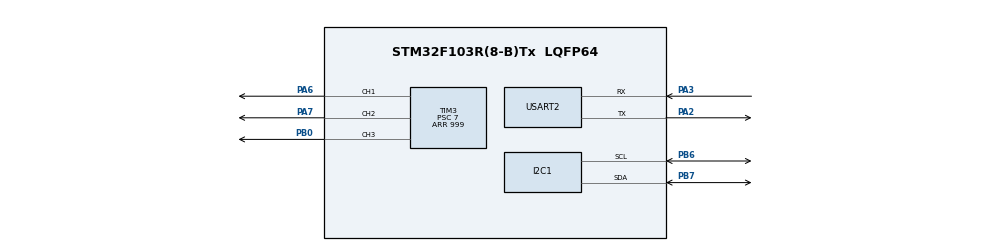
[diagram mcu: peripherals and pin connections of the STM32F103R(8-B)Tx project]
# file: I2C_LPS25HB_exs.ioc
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Mcu.Family=STM32F1
Mcu.Name=STM32F103R(8-B)Tx
Mcu.Package=LQFP64
NVIC.PriorityGroup=NVIC_PRIORITYGROUP_4
NVIC.TIM3_IRQn=true\:6\:0\:true\:false\:true\:true\:true\:true
PA13.Mode=Serial_Wire
PA13.Signal=SYS_JTMS-SWDIO
PA14.Mode=Serial_Wire
PA14.Signal=SYS_JTCK-SWCLK
PA2.Mode=Asynchronous
PA2.Signal=USART2_TX
PA3.Mode=Asynchronous
PA3.Signal=USART2_RX
PA6.Signal=S_TIM3_CH1
PA7.Signal=S_TIM3_CH2
PB0.Signal=S_TIM3_CH3
PB6.Mode=I2C
PB6.Signal=I2C1_SCL
PB7.Mode=I2C
PB7.Signal=I2C1_SDA
ProjectManager.HeapSize=0x200
ProjectManager.StackSize=0x400
ProjectManager.TargetToolchain=STM32CubeIDE
RCC.APB1Freq_Value=8000000
RCC.APB2Freq_Value=8000000
SH.S_TIM3_CH1.0=TIM3_CH1,PWM Generation1 CH1
SH.S_TIM3_CH2.0=TIM3_CH2,PWM Generation2 CH2
SH.S_TIM3_CH3.0=TIM3_CH3,PWM Generation3 CH3
TIM3.Channel-PWM\ Generation1\ CH1=TIM_CHANNEL_1
TIM3.Channel-PWM\ Generation2\ CH2=TIM_CHANNEL_2
TIM3.Channel-PWM\ Generation3\ CH3=TIM_CHANNEL_3
TIM3.OCPolarity_1=TIM_OCPOLARITY_LOW
TIM3.OCPolarity_2=TIM_OCPOLARITY_LOW
TIM3.OCPolarity_3=TIM_OCPOLARITY_LOW
TIM3.Period=999
TIM3.Prescaler=7
TIM3.Pulse-PWM\ Generation1\ CH1=5
TIM3.Pulse-PWM\ Generation2\ CH2=40
TIM3.Pulse-PWM\ Generation3\ CH3=200
USART2.VirtualMode=VM_ASYNC
VP_RTC_VS_RTC_Activate.Mode=RTC_Enabled
VP_TIM3_VS_ClockSourceINT.Mode=Internal
board=custom

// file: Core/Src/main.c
/* USER CODE BEGIN Header */
/**
  ******************************************************************************
  * @file           : main.c
  * @brief          : Main program body
  ******************************************************************************
  * @attention
  *
  * Copyright (c) 2024 STMicroelectronics.
  * All rights reserved.
  *
  * This software is licensed under terms that can be found in the LICENSE file
  * in the root directory of this software component.
  * If no LICENSE file comes with this software, it is provided AS-IS.
  *
  ******************************************************************************
  */
/* USER CODE END Header */
#include "main.h"
#include "i2c.h"
#include "rtc.h"
#include "tim.h"
#include "usart.h"
#include "gpio.h"

/* USER CODE BEGIN Includes */
#include <stdio.h>
#include <math.h>
#include "lps25hb.h"
/* USER CODE END Includes */

/* USER CODE BEGIN PD */
#define PRESSURE_SCALE -29.271769
#define SECOND 1000
/* USER CODE END PD */

void SystemClock_Config(void);

/* USER CODE BEGIN 0 */
int __io_putchar(int ch)
{
	if (ch == '\n')
		__io_putchar('\r');

	HAL_UART_Transmit(&huart2, (uint8_t*)&ch, 1, HAL_MAX_DELAY);
	return 1;
}

float calc_diode_light(float height)
{
	uint16_t indicator = height * 5;
	float diode_value = indicator * 40.0f + 40.0f;
	return diode_value;
}
/* USER CODE END 0 */

int main(void)
{

  /* MCU Configuration--------------------------------------------------------*/

  /* Reset of all peripherals, Initializes the Flash interface and the Systick. */
  HAL_Init();

  /* Configure the system clock */
  SystemClock_Config();

  /* Initialize all configured peripherals */
  MX_GPIO_Init();
  MX_I2C1_Init();
  MX_USART2_UART_Init();
  MX_RTC_Init();
  MX_TIM3_Init();
  /* USER CODE BEGIN 2 */
  HAL_TIM_Base_Start_IT(&htim3);
  HAL_TIM_PWM_Start(&htim3, TIM_CHANNEL_1);
  HAL_TIM_PWM_Start(&htim3, TIM_CHANNEL_2);
  HAL_TIM_PWM_Start(&htim3, TIM_CHANNEL_3);
  __HAL_TIM_SET_COMPARE(&htim3, TIM_CHANNEL_2, 0.0f);
  /* USER CODE END 2 */

  /* Infinite loop */
  /* USER CODE BEGIN WHILE */
  printf("Searching...\n");
  if (LPS25HB_Init() != HAL_OK) {
	  printf("Error: LPS25HB not found!\n");
	  Error_Handler();
  } else {
	  printf("Found: LPS25HB\n");
  }

  HAL_Delay(3 * SECOND);

  while (1)
  {
	  float temp = LPS25HB_Read_Temp() + 273.15f;
	  float fraction = LPS25HB_Read_Pressure_Difference();
	  float height = PRESSURE_SCALE * temp * log(fraction);

	  if (height < 0) {
		  __HAL_TIM_SET_COMPARE(&htim3, TIM_CHANNEL_1, calc_diode_light(-1 * height));
		  __HAL_TIM_SET_COMPARE(&htim3, TIM_CHANNEL_3, 0);
	  } else {
		  __HAL_TIM_SET_COMPARE(&htim3, TIM_CHANNEL_1, 0);
		  __HAL_TIM_SET_COMPARE(&htim3, TIM_CHANNEL_3, calc_diode_light(height));
	  }

	  HAL_Delay(SECOND);
    /* USER CODE END WHILE */

  }
}

void SystemClock_Config(void)
{
  RCC_OscInitTypeDef RCC_OscInitStruct = {0};
  RCC_ClkInitTypeDef RCC_ClkInitStruct = {0};
  RCC_PeriphCLKInitTypeDef PeriphClkInit = {0};

  /** Initializes the RCC Oscillators according to the specified parameters
  * in the RCC_OscInitTypeDef structure.
  */
  RCC_OscInitStruct.OscillatorType = RCC_OSCILLATORTYPE_HSI|RCC_OSCILLATORTYPE_LSI;
  RCC_OscInitStruct.HSIState = RCC_HSI_ON;
  RCC_OscInitStruct.HSICalibrationValue = RCC_HSICALIBRATION_DEFAULT;
  RCC_OscInitStruct.LSIState = RCC_LSI_ON;
  RCC_OscInitStruct.PLL.PLLState = RCC_PLL_NONE;
  if (HAL_RCC_OscConfig(&RCC_OscInitStruct) != HAL_OK)
  {
    Error_Handler();
  }

  /** Initializes the CPU, AHB and APB buses clocks
  */
  RCC_ClkInitStruct.ClockType = RCC_CLOCKTYPE_HCLK|RCC_CLOCKTYPE_SYSCLK
                              |RCC_CLOCKTYPE_PCLK1|RCC_CLOCKTYPE_PCLK2;
  RCC_ClkInitStruct.SYSCLKSource = RCC_SYSCLKSOURCE_HSI;
  RCC_ClkInitStruct.AHBCLKDivider = RCC_SYSCLK_DIV1;
  RCC_ClkInitStruct.APB1CLKDivider = RCC_HCLK_DIV1;
  RCC_ClkInitStruct.APB2CLKDivider = RCC_HCLK_DIV1;

  if (HAL_RCC_ClockConfig(&RCC_ClkInitStruct, FLASH_LATENCY_0) != HAL_OK)
  {
    Error_Handler();
  }
  PeriphClkInit.PeriphClockSelection = RCC_PERIPHCLK_RTC;
  PeriphClkInit.RTCClockSelection = RCC_RTCCLKSOURCE_LSI;
  if (HAL_RCCEx_PeriphCLKConfig(&PeriphClkInit) != HAL_OK)
  {
    Error_Handler();
  }
}

void Error_Handler(void)
{
  __disable_irq();
  while (1)
  {
  }
}
